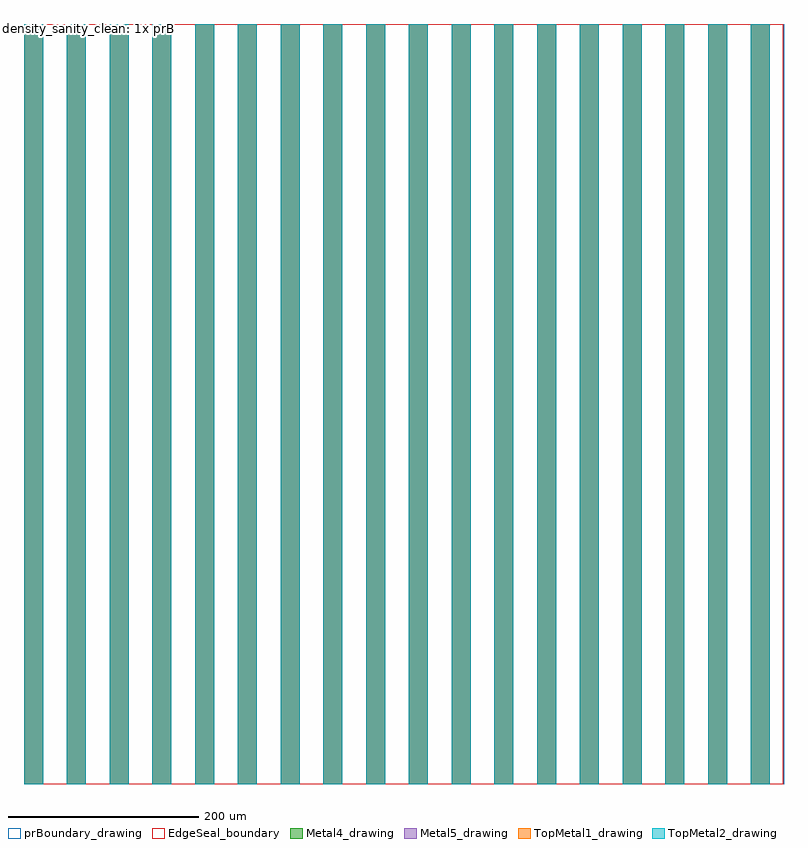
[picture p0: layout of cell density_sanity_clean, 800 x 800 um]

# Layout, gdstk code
import gdstk
lib = gdstk.Library(unit=1e-6, precision=1e-09)
def R(c, l, rs):  # rectangles x0, y0, x1, y1
    for r in rs: c.add(gdstk.rectangle(r[:2], r[2:], *l))
def A(c, l, x, y, w, h, nx, ny, dx, dy):  # array of equal rectangles
    R(c, l, [(x+i*dx, y+j*dy, x+i*dx+w, y+j*dy+h) for i in range(nx) for j in range(ny)])
EdgeSeal_boundary = (39, 4)
Metal4_drawing = (50, 0)
Metal5_drawing = (67, 0)
TopMetal1_drawing = (126, 0)
TopMetal2_drawing = (134, 0)
prBoundary_drawing = (235, 0)

density_sanity_clean = lib.new_cell('density_sanity_clean')
R(density_sanity_clean, EdgeSeal_boundary, [(1,0,799,800)])
A(density_sanity_clean, Metal4_drawing, 0, 0, 20, 800, 18, 1, 45, 0)
A(density_sanity_clean, Metal5_drawing, 0, 0, 20, 800, 18, 1, 45, 0)
A(density_sanity_clean, TopMetal1_drawing, 0, 0, 20, 800, 18, 1, 45, 0)
A(density_sanity_clean, TopMetal2_drawing, 0, 0, 20, 800, 18, 1, 45, 0)
R(density_sanity_clean, prBoundary_drawing, [(0,0,800,800)])
density_sanity_clean.add(gdstk.Label('density_sanity_clean: 1x prBoundary + 1x EdgeSeal boundary, areas within 1% -> no DEN.BND.*', (10,795), layer=63, texttype=0))

lib.write_gds('density_sanity_clean.gds')
